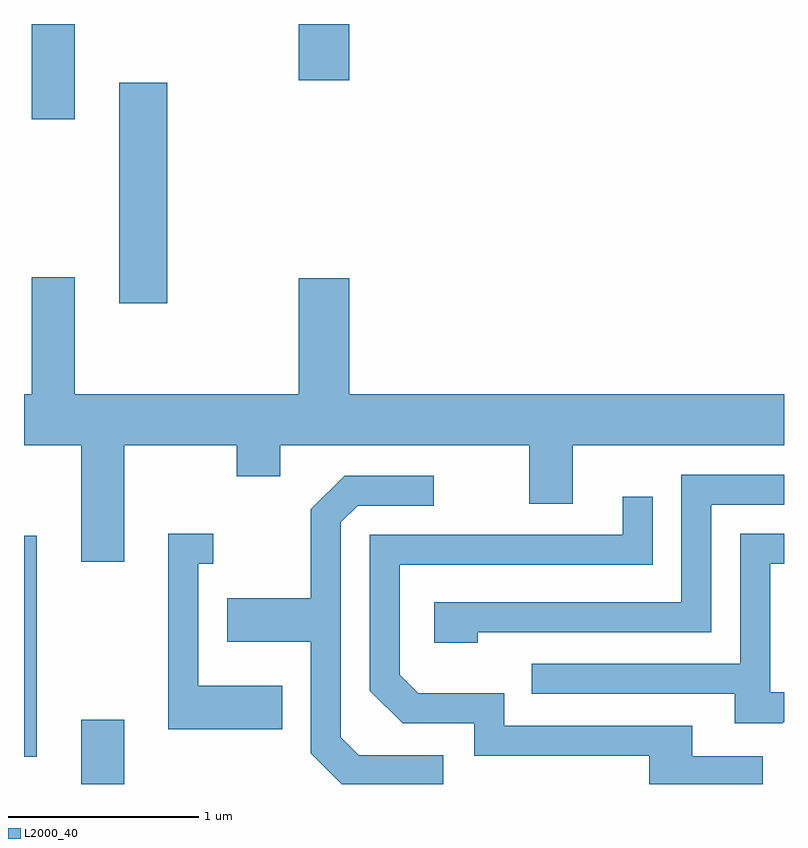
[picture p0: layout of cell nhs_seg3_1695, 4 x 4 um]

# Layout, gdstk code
import gdstk
lib = gdstk.Library(unit=1e-6, precision=1e-09)
def R(c, l, rs):  # rectangles x0, y0, x1, y1
    for r in rs: c.add(gdstk.rectangle(r[:2], r[2:], *l))
def P(c, l, *ps):  # polygons
    for p in ps: c.add(gdstk.Polygon(p, *l))
L2000_40 = (2000, 40)

nhs_seg3_1695 = lib.new_cell('nhs_seg3_1695')
R(nhs_seg3_1695, L2000_40, [(233.911,1241.892,234.139,1242.229), (233.611,1242.036,233.679,1243.199), (234.111,1244.421,234.364,1245.584), (233.651,1245.391,233.879,1245.892), (235.056,1245.596,235.324,1245.892)])
P(nhs_seg3_1695, L2000_40, [(234.139,1243.676),(234.731,1243.676),(234.731,1243.511),(234.959,1243.511),(234.959,1243.676),(236.271,1243.676),(236.271,1243.366),(236.499,1243.366),(236.499,1243.676),(237.611,1243.676),(237.611,1243.944),(235.324,1243.944),(235.324,1244.554),(235.056,1244.554),(235.056,1243.944),(233.879,1243.944),(233.879,1244.559),(233.651,1244.559),(233.651,1243.944),(233.611,1243.944),(233.611,1243.676),(233.911,1243.676),(233.911,1243.061),(234.139,1243.061)],
  [(235.999,1242.691),(237.229,1242.691),(237.229,1243.361),(237.611,1243.361),(237.611,1243.519),(237.071,1243.519),(237.071,1242.849),(235.771,1242.849),(235.771,1242.636),(235.999,1242.636)],
  [(235.818,1242.044),(235.372,1242.044),(235.279,1242.137),(235.279,1243.269),(235.367,1243.356),(235.768,1243.356),(235.768,1243.514),(235.299,1243.514),(235.121,1243.337),(235.121,1242.869),(234.681,1242.869),(234.681,1242.641),(235.121,1242.641),(235.121,1242.054),(235.283,1241.892),(235.818,1241.892)],
  [(237.498,1242.039),(237.129,1242.039),(237.129,1242.199),(236.139,1242.199),(236.139,1242.369),(235.687,1242.369),(235.589,1242.467),(235.589,1243.046),(236.919,1243.046),(236.919,1243.403),(236.761,1243.403),(236.761,1243.204),(235.431,1243.204),(235.431,1242.384),(235.604,1242.211),(235.981,1242.211),(235.981,1242.041),(236.901,1242.041),(236.901,1241.892),(237.498,1241.892)],
  [(234.969,1242.409),(234.529,1242.409),(234.529,1243.051),(234.608,1243.051),(234.608,1243.209),(234.371,1243.209),(234.371,1242.181),(234.969,1242.181)],
  [(237.605,1242.216),(237.611,1242.216),(237.611,1242.374),(237.539,1242.374),(237.539,1243.051),(237.611,1243.051),(237.611,1243.209),(237.381,1243.209),(237.381,1242.524),(236.283,1242.524),(236.283,1242.366),(237.351,1242.366),(237.351,1242.211),(237.605,1242.211)])

lib.write_gds('nhs_seg3_1695.gds')
